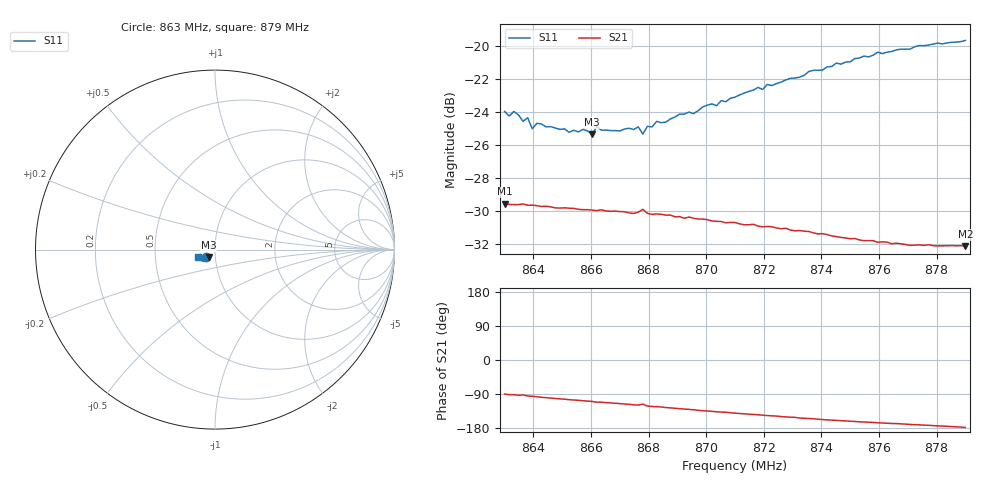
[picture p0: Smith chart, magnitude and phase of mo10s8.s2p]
# HZ S RI R 50
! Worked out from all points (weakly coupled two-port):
!   101 points, 863 MHz to 879 MHz, reference 50 ohm
!   highest |S21| = -29.53 dB at 863 MHz (marker M1); lowest = -32.1 dB at 879 MHz (marker M2)
!   lowest |S11| = -25.3 dB at 866.04 MHz (marker M3), VSWR 1.11, Z = 46.5 - j3.92 ohm
!   |S11| at or under -10 dB: start of sweep to end of sweep
!   S12 and S22 are empty: the file has one direction only
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8.63e8  -0.05 -0.039  0.000143 -0.0334  0 0  0 0
8.6316e8  -0.0474 -0.0391  -0.000798 -0.0332  0 0  0 0
8.6332e8  -0.0492 -0.04  -0.000955 -0.0331  0 0  0 0
8.6364e8  -0.0442 -0.0394  -0.00128 -0.0333  0 0  0 0
8.638e8  -0.0465 -0.039  -0.00284 -0.0329  0 0  0 0
8.6396e8  -0.0406 -0.0389  -0.00332 -0.0329  0 0  0 0
8.6412e8  -0.0435 -0.039  -0.00401 -0.0327  0 0  0 0
8.6524e8  -0.0382 -0.0394  -0.00821 -0.0313  0 0  0 0
8.6572e8  -0.036 -0.0428  -0.0096 -0.0305  0 0  0 0
8.6604e8  -0.034 -0.042  -0.0106 -0.0301  0 0  0 0
8.662e8  -0.0373 -0.0432  -0.0116 -0.0296  0 0  0 0
8.6636e8  -0.0358 -0.0427  -0.0116 -0.0298  0 0  0 0
8.67e8  -0.0329 -0.0445  -0.0134 -0.0286  0 0  0 0
8.6764e8  -0.0318 -0.0473  -0.0152 -0.0275  0 0  0 0
8.678e8  -0.0287 -0.0459  -0.0143 -0.0287  0 0  0 0
8.6796e8  -0.0323 -0.0472  -0.0164 -0.0265  0 0  0 0
8.6844e8  -0.0315 -0.0495  -0.0173 -0.0257  0 0  0 0
8.71e8  -0.0377 -0.0591  -0.0225 -0.0187  0 0  0 0
8.7372e8  -0.0531 -0.0657  -0.0247 -0.0115  0 0  0 0
8.7596e8  -0.0723 -0.0629  -0.0247 -0.00627  0 0  0 0
8.7644e8  -0.0756 -0.0596  -0.0247 -0.00545  0 0  0 0
8.79e8  -0.0948 -0.0427  -0.0248 -0.000859  0 0  0 0
